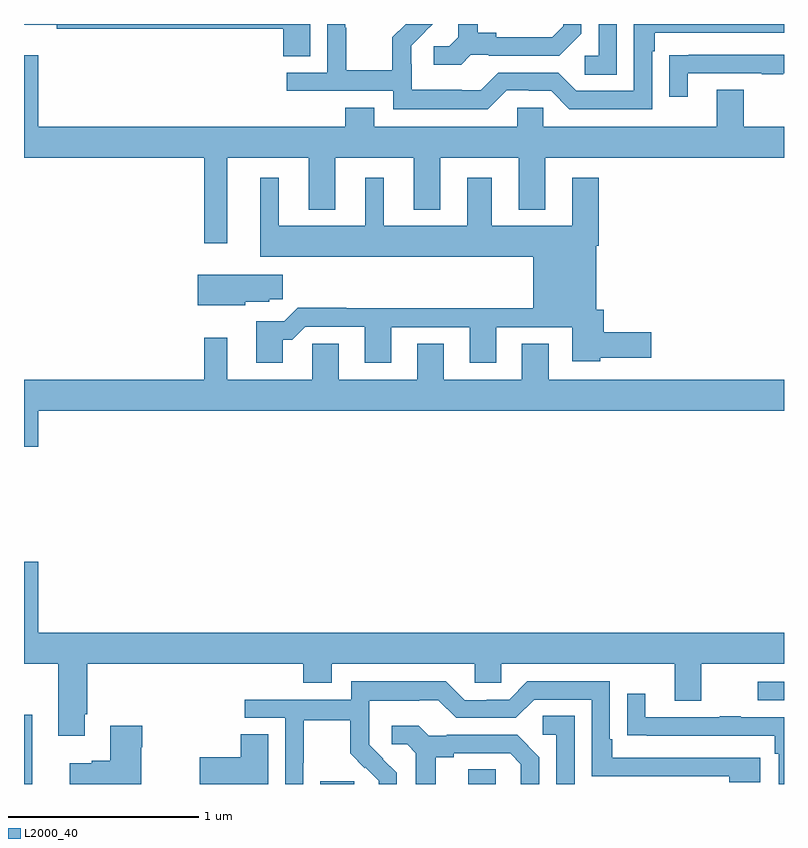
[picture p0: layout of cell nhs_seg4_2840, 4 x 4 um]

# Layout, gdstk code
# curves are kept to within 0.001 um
import gdstk
lib = gdstk.Library(unit=1e-6, precision=1e-09)
def R(c, l, rs):  # rectangles x0, y0, x1, y1
    for r in rs: c.add(gdstk.rectangle(r[:2], r[2:], *l))
def P(c, l, *ps):  # polygons
    for p in ps: c.add(gdstk.Polygon(p, *l))
L2000_40 = (2000, 40)

nhs_seg4_2840 = lib.new_cell('nhs_seg4_2840')
R(nhs_seg4_2840, L2000_40, [(261,750.9,261.044,751.264), (262.559,750.9,262.738,750.915), (263.339,750.9,263.484,750.977), (264.861,751.341,265,751.437)])
P(nhs_seg4_2840, L2000_40, [(262.507,754.9),(261,754.9),(261,754.895),(261.172,754.895),(261.172,754.876),(262.364,754.876),(262.364,754.729),(262.507,754.729)],
  [(263.541,754.551),(263.657,754.551),(263.657,754.548),(263.775,754.548),(263.871,754.452),(264.306,754.452),(264.306,754.757),(264.319,754.757),(264.319,754.854),(265,754.854),(265,754.9),(264.21,754.9),(264.21,754.548),(263.907,754.548),(263.811,754.644),(263.496,754.644),(263.403,754.551),(263.303,754.551),(263.303,754.555),(263.04,754.555),(263.04,754.689),(263.038,754.689),(263.038,754.786),(263.15,754.9),(263.008,754.9),(262.939,754.831),(262.939,754.657),(262.695,754.657),(262.695,754.88),(262.692,754.88),(262.692,754.9),(262.596,754.9),(262.596,754.644),(262.383,754.644),(262.383,754.548),(262.944,754.548),(262.944,754.451),(263.441,754.451)],
  [(264.12,754.9),(264.024,754.9),(264.024,754.734),(263.952,754.734),(263.952,754.633),(264.12,754.633)],
  [(263.352,754.737),(263.446,754.737),(263.446,754.734),(263.818,754.734),(263.934,754.85),(263.934,754.9),(263.837,754.9),(263.837,754.887),(263.78,754.83),(263.485,754.83),(263.485,754.853),(263.389,754.853),(263.389,754.9),(263.285,754.9),(263.285,754.829),(263.238,754.782),(263.157,754.782),(263.157,754.685),(263.3,754.685)],
  [(264.493,754.641),(264.883,754.641),(264.883,754.636),(264.995,754.636),(264.995,754.641),(265,754.641),(265,754.737),(264.499,754.737),(264.499,754.736),(264.397,754.736),(264.397,754.518),(264.493,754.518)],
  [(263.051,753.923),(263.191,753.923),(263.191,754.196),(263.603,754.196),(263.603,753.923),(263.743,753.923),(263.743,754.196),(265,754.196),(265,754.36),(264.787,754.36),(264.787,754.555),(264.647,754.555),(264.647,754.36),(263.733,754.36),(263.733,754.458),(263.595,754.458),(263.595,754.36),(262.843,754.36),(262.843,754.459),(262.691,754.459),(262.691,754.36),(261.076,754.36),(261.076,754.735),(261,754.735),(261,754.196),(261.948,754.196),(261.948,753.747),(262.069,753.747),(262.069,754.196),(262.499,754.196),(262.499,753.923),(262.639,753.923),(262.639,754.196),(263.051,754.196)],
  [(262.363,753.239),(262.412,753.239),(262.479,753.306),(262.793,753.306),(262.793,753.117),(262.933,753.117),(262.933,753.303),(263.345,753.303),(263.345,753.117),(263.485,753.117),(263.485,753.303),(263.885,753.303),(263.885,753.125),(264.033,753.125),(264.033,753.143),(264.301,753.143),(264.301,753.278),(264.05,753.278),(264.05,753.396),(264.013,753.396),(264.013,753.734),(264.026,753.734),(264.026,754.09),(263.885,754.09),(263.885,753.838),(263.461,753.838),(263.461,754.09),(263.333,754.09),(263.333,753.838),(262.894,753.838),(262.894,754.09),(262.796,754.09),(262.796,753.838),(262.342,753.838),(262.342,754.09),(262.244,754.09),(262.244,753.674),(263.681,753.674),(263.681,753.404),(262.697,753.404),(262.697,753.407),(262.442,753.407),(262.371,753.336),(262.223,753.336),(262.223,753.117),(262.363,753.117)],
  [(262.164,753.437),(262.29,753.437),(262.29,753.451),(262.363,753.451),(262.363,753.58),(261.914,753.58),(261.914,753.419),(262.164,753.419)],
  [(261.076,752.864),(265,752.864),(265,753.028),(263.761,753.028),(263.761,753.218),(263.621,753.218),(263.621,753.028),(263.209,753.028),(263.209,753.218),(263.069,753.218),(263.069,753.028),(262.657,753.028),(262.657,753.218),(262.518,753.218),(262.518,753.028),(262.069,753.028),(262.069,753.25),(261.948,753.25),(261.948,753.028),(261,753.028),(261,752.676),(261.076,752.676)],
  [(261.319,751.267),(261.332,751.267),(261.332,751.532),(262.469,751.532),(262.469,751.433),(262.621,751.433),(262.621,751.532),(263.373,751.532),(263.373,751.434),(263.511,751.434),(263.511,751.532),(264.425,751.532),(264.425,751.338),(264.565,751.338),(264.565,751.532),(265,751.532),(265,751.696),(261.076,751.696),(261.076,752.071),(261,752.071),(261,751.532),(261.179,751.532),(261.179,751.155),(261.319,751.155)],
  [(262.47,751.012),(262.473,751.012),(262.473,751.236),(262.717,751.236),(262.717,751.061),(262.794,750.984),(262.797,750.987),(262.868,750.917),(262.868,750.9),(262.962,750.9),(262.962,750.958),(262.816,751.106),(262.816,751.203),(262.818,751.203),(262.818,751.337),(263.081,751.337),(263.081,751.341),(263.181,751.341),(263.274,751.248),(263.589,751.248),(263.685,751.344),(263.988,751.344),(263.988,750.942),(264.713,750.942),(264.713,750.908),(264.874,750.908),(264.874,751.038),(264.097,751.038),(264.097,751.135),(264.084,751.135),(264.084,751.44),(263.649,751.44),(263.553,751.344),(263.435,751.344),(263.435,751.341),(263.319,751.341),(263.219,751.441),(262.722,751.441),(262.722,751.344),(262.161,751.344),(262.161,751.248),(262.374,751.248),(262.374,750.9),(262.47,750.9)],
  [(265,751.251),(264.773,751.251),(264.773,751.256),(264.661,751.256),(264.661,751.251),(264.271,751.251),(264.271,751.375),(264.175,751.375),(264.175,751.156),(264.277,751.156),(264.277,751.155),(264.952,751.155),(264.952,751.058),(264.972,751.058),(264.972,750.9),(265,750.9)],
  [(263.898,751.259),(263.73,751.259),(263.73,751.158),(263.802,751.158),(263.802,750.9),(263.898,750.9)],
  [(261.618,751.094),(261.623,751.094),(261.623,751.207),(261.455,751.207),(261.455,751.022),(261.356,751.022),(261.356,751.009),(261.24,751.009),(261.24,750.9),(261.618,750.9)],
  [(263.167,751.04),(263.263,751.04),(263.263,751.062),(263.558,751.062),(263.615,751.005),(263.615,750.9),(263.712,750.9),(263.712,751.042),(263.596,751.158),(263.224,751.158),(263.224,751.155),(263.13,751.155),(263.078,751.207),(262.935,751.207),(262.935,751.11),(263.016,751.11),(263.063,751.063),(263.063,750.9),(263.167,750.9)],
  [(262.285,751.163),(262.142,751.163),(262.142,751.04),(261.924,751.04),(261.924,750.9),(262.285,750.9)])

lib.write_gds('nhs_seg4_2840.gds')
